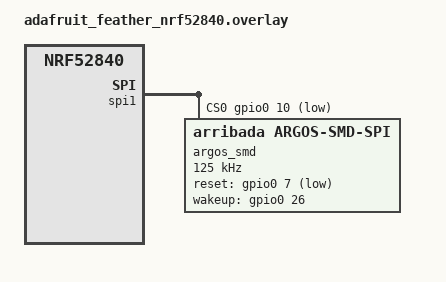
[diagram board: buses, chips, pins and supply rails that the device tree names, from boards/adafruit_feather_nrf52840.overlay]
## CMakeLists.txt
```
cmake_minimum_required(VERSION 3.20)
find_package(Zephyr REQUIRED HINTS $ENV{ZEPHYR_BASE})
project(lpm_test_spi LANGUAGES C)

target_sources(app PRIVATE src/main.c)
```

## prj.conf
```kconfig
# Copyright (c) 2025 Arribada Initiative
# SPDX-License-Identifier: Apache-2.0

# Argos SMD driver with SPI transport
CONFIG_ARGOS_SMD=y
CONFIG_ARGOS_SMD_SPI=y

# SPI + GPIO (wake line)
CONFIG_SPI=y
CONFIG_GPIO=y

# Logging (INF: the per-transaction TX/RX DBG logs would flood RTT)
CONFIG_LOG=y
CONFIG_LOG_MODE_IMMEDIATE=y
CONFIG_ARGOS_SMD_LOG_LEVEL_INF=y

# RTT console
CONFIG_USE_SEGGER_RTT=y
CONFIG_RTT_CONSOLE=y
CONFIG_UART_CONSOLE=n

# RTT log backend must DROP (not block) when full, otherwise immediate logging
# busy-waits while no RTT host is draining and a context switch during that wait
# can fault.
CONFIG_LOG_BACKEND_RTT_MODE_DROP=y
CONFIG_SEGGER_RTT_BUFFER_SIZE_UP=16384

CONFIG_MAIN_STACK_SIZE=4096
```

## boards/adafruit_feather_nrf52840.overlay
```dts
/*
 * Copyright (c) 2025 Arribada Initiative
 * SPDX-License-Identifier: Apache-2.0
 *
 * LPM (low-power mode) SPI wake-test overlay for Adafruit Feather nRF52840.
 *
 * Wiring (Feather -> Argos SMD/STM32):
 * - SCK  (P0.14) -> SPI_CLK  (STM32 PA1)
 * - MOSI (P0.13) -> SPI_MOSI (STM32 PB5)
 * - MISO (P0.15) -> SPI_MISO (STM32 PB4)
 * - CS   (P0.10) -> SPI_NSS  (STM32 PA15)
 * - WAKE (P0.26) -> STM32 PB3/WKUP3   (REQUIRED for this test — wake line)
 * - RST  (P0.07) -> NRST              (OPTIONAL — see reset-gpios below)
 *
 * wakeup-gpios is ENABLED here: the LPM test drives WKUP3/PB3 to wake the module
 * from STANDBY (a rising edge cold-boots it). STOP wakes on SPI activity, and
 * SHUTDOWN needs NRST. There is no irq-gpios — the driver uses the
 * pipelined/polled protocol, so P0.26 is free to be the wake line.
 *
 * reset-gpios (host NRST) is left available but OPTIONAL: wire P0.07 -> module
 * NRST only if you want the host to reset/cold-boot the module (e.g. to recover
 * SHUTDOWN, which does not wake on WKUP3). This test does not require it.
 */

#include <zephyr/dt-bindings/gpio/gpio.h>

/* Disable NFC to use P0.09/P0.10 as GPIO */
&uicr {
	nfct-pins-as-gpios;
};

&spi1 {
	compatible = "nordic,nrf-spim";
	status = "okay";
	cs-gpios = <&gpio0 10 GPIO_ACTIVE_LOW>;

	argos_smd: argos-smd@0 {
		compatible = "arribada,argos-smd-spi";
		reg = <0>;
		spi-max-frequency = <125000>;  /* 125 kHz - minimum for nRF52840 */
		/* OPTIONAL host NRST control: wire P0.07 -> module NRST only if you want
		 * the host to reset/cold-boot the module. Not used by this test (it wakes
		 * via WKUP3); kept here so NRST is available if you choose to wire it. */
		reset-gpios = <&gpio0 7 GPIO_ACTIVE_LOW>;
		/* Wake line to STM32 PB3/WKUP3 (Feather D9). */
		wakeup-gpios = <&gpio0 26 GPIO_ACTIVE_HIGH>;
	};
};
```

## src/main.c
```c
/*
 * Copyright (c) 2025 Arribada Initiative
 * SPDX-License-Identifier: Apache-2.0
 *
 * SPI LPM validation — CLEAN/BOUNDED. Order: WRITE-PATH, STANDBY, STOP, then
 * SHUTDOWN LAST (SHUTDOWN doesn't wake on WKUP3 over SPI -> it bricks the module,
 * so it goes last after the other results are logged). Recovery is bounded (one
 * WKUP3 rising edge or a short grace-window retry, no flooding loops) so the
 * result lines survive in the RTT buffer. Relies on the driver's per-transaction
 * spacing fix (no degradation).
 */

#include <zephyr/kernel.h>
#include <zephyr/device.h>
#include <zephyr/drivers/gpio.h>
#include <zephyr/logging/log.h>
#include <errno.h>

#include <argos-smd/argos_smd_spi.h>

LOG_MODULE_REGISTER(lpm_spi, LOG_LEVEL_INF);

#define WAKE_PIN 26
static const struct device *dev, *gpio0;

static void wkup3_low(void)  { gpio_pin_set_raw(gpio0, WAKE_PIN, 0); }
static void wkup3_high(void) { gpio_pin_set_raw(gpio0, WAKE_PIN, 1); }

static bool wait_alive(int max_ms)
{
	int64_t end = k_uptime_get() + max_ms;
	do {
		argos_spi_sync(dev);
		if (argos_spi_ping(dev) == 0) return true;
		k_msleep(120);
	} while (k_uptime_get() < end);
	return false;
}

/* One WKUP3 rising edge + warmup-tolerant wait. Leaves WKUP3 HIGH. */
static bool wkup3_wake(int settle_ms)
{
	wkup3_low();
	k_msleep(800);
	wkup3_high();
	k_msleep(settle_ms);
	return wait_alive(6000);
}

/* Deep mode: forced entry, prove slept, single WKUP3 rising-edge wake. */
static int test_deep(uint8_t bitmap, const char *name, int settle_ms)
{
	LOG_INF("---- %s (0x%02X) ----", name, bitmap);
	wkup3_low();
	k_msleep(100);
	int r = argos_spi_set_lpm_forced(dev, bitmap, bitmap);
	k_msleep(2000);
	bool slept = !wait_alive(1200);
	LOG_INF("  forced ret=%d, slept(SPI-silent)=%s", r, slept ? "yes" : "NO");
	bool wk = wkup3_wake(settle_ms);
	LOG_INF("  WKUP3 wake -> %s", wk ? "OK" : "FAIL");
	if (wk) { argos_spi_set_lpm(dev, 0x00); wkup3_low(); }
	if (!slept) return 1;
	return wk ? 2 : 0;
}

int main(void)
{
	dev = DEVICE_DT_GET_ONE(arribada_argos_smd_spi);
	gpio0 = DEVICE_DT_GET(DT_NODELABEL(gpio0));
	if (!device_is_ready(dev) || !device_is_ready(gpio0)) return -ENODEV;
	gpio_pin_configure(gpio0, WAKE_PIN, GPIO_OUTPUT_LOW | GPIO_INPUT);
	k_msleep(2500);

	LOG_INF("===== SPI LPM clean validation =====");
	if (!wait_alive(8000)) {
		LOG_ERR("muet at startup - power-cycle/reflash the module");
		return -EIO;
	}
	LOG_INF("alive");

	int r0 = argos_spi_set_lpm(dev, 0x00);
	bool wpath = (r0 == 0);
	LOG_INF("WRITE-PATH: set_lpm(0x00)=%d -> %s", r0, wpath ? "OK" : "FAIL");

	/* STANDBY (WKUP3-recoverable). */
	int standby = test_deep(0x04, "STANDBY", 2500);
	if (!wait_alive(2000)) wkup3_wake(2500);

	/* STOP (grace-window). */
	LOG_INF("---- STOP (0x02) ----");
	wkup3_low();
	k_msleep(100);
	int rs = argos_spi_set_lpm(dev, 0x02);
	k_msleep(2000);
	bool stop_ok = false;
	for (int i = 0; i < 6 && !stop_ok; i++) {
		argos_spi_set_lpm(dev, 0x00);
		if (argos_spi_set_lpm(dev, 0x00) == 0) stop_ok = wait_alive(1500);
		else k_msleep(50);
	}
	LOG_INF("  set_lpm(0x02)=%d, grace-window recover -> %s", rs, stop_ok ? "OK" : "FAIL");
	if (!wait_alive(2000)) wkup3_wake(2500);

	/* SHUTDOWN LAST (may brick - no WKUP3 wake). Generous settle to be sure. */
	int shutdown = test_deep(0x08, "SHUTDOWN", 4000);

	LOG_INF("===== SUMMARY =====");
	LOG_INF("  WRITE-path:  %s", wpath ? "OK" : "FAIL");
	LOG_INF("  STANDBY:     %s", standby == 2 ? "OK (slept+woke)" : standby == 1 ? "never slept" : "FAIL(no wake)");
	LOG_INF("  STOP:        %s", stop_ok ? "OK (grace-window)" : "FAIL");
	LOG_INF("  SHUTDOWN:    %s", shutdown == 2 ? "OK (slept+woke)" : shutdown == 1 ? "never slept" : "slept, NO WKUP3 wake (NRST only)");
	return 0;
}
```
